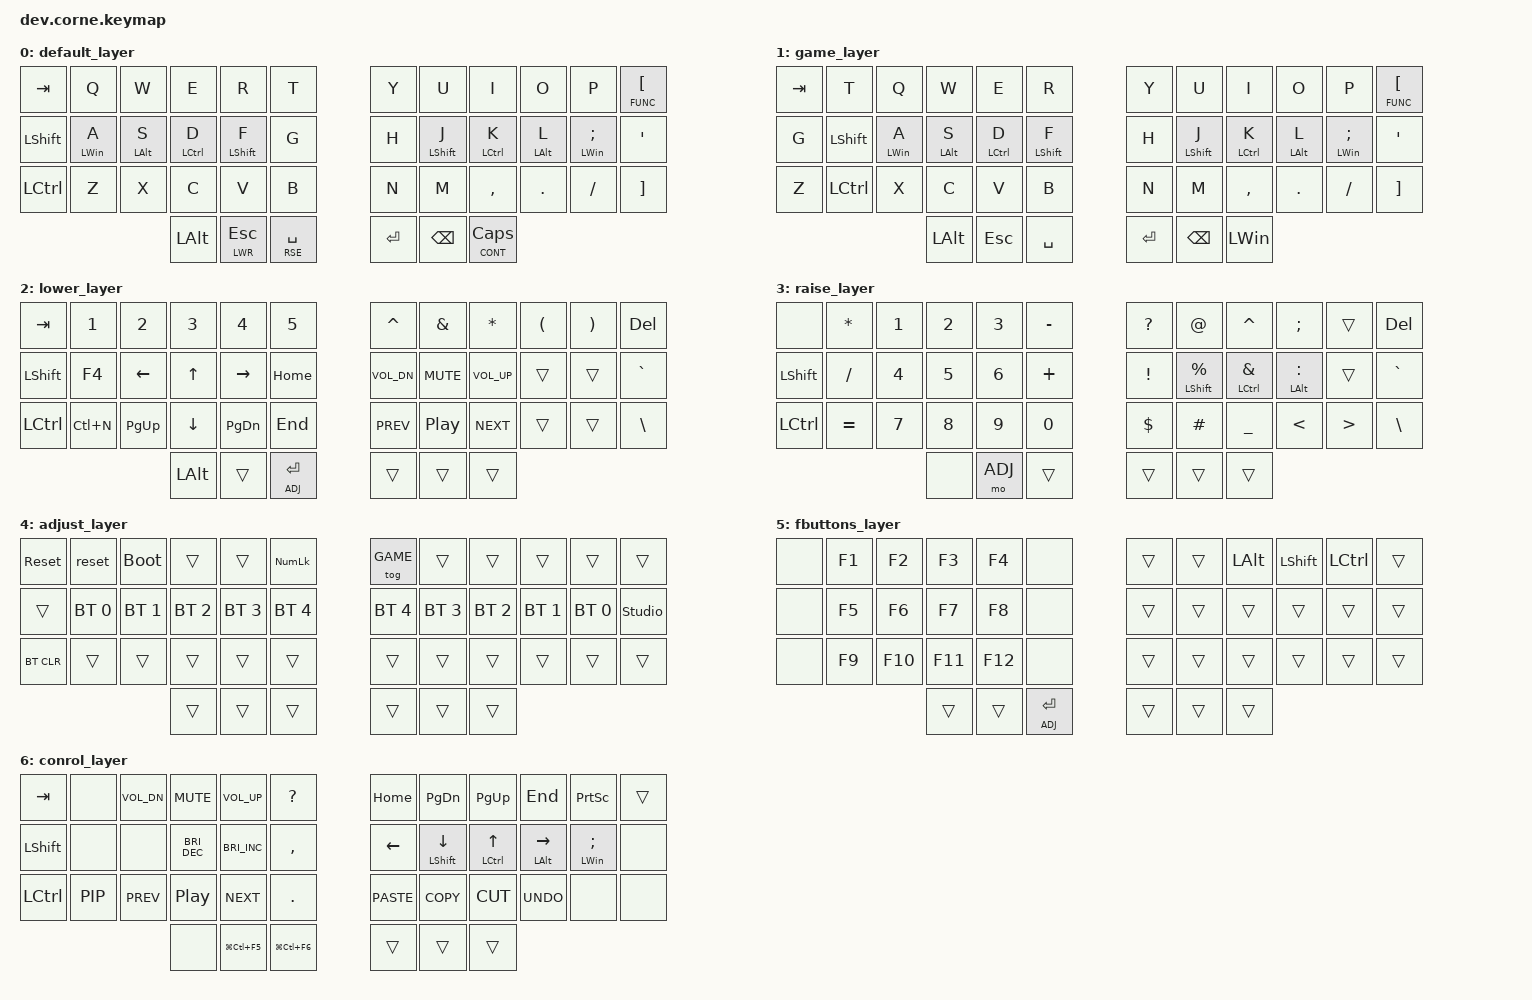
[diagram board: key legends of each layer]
 /*
 * Copyright (c) 2020 The ZMK Contributors
 *
 * SPDX-License-Identifier: MIT
 */

#include <behaviors.dtsi>
#include <dt-bindings/zmk/keys.h>
#include <dt-bindings/zmk/bt.h>
#include <dt-bindings/zmk/rgb.h>
#include <dt-bindings/zmk/behaviors.h>

#define DEF 0
#define GAME 1
#define LWR 2
#define RSE 3
#define ADJ 4
#define FUNC 5
#define CONT 6

&mt { quick_tap_ms = <200>; };
&lt { quick_tap_ms = <200>; };


/ {
    behaviors {
        hml: home_row_mod_left {
            compatible = "zmk,behavior-hold-tap";
            #binding-cells = <2>;
            flavor = "balanced";
            require-prior-idle-ms = <150>;
            tapping-term-ms = <280>;
            quick-tap-ms = <175>;
            bindings = <&kp>, <&kp>;
            hold-trigger-key-positions = <6 7 8 9 10 11 18 19 20 21 22 23 30 31 32 33 34 35>;
            hold-trigger-on-release;
        };

        hmr: home_row_mod_right {
            compatible = "zmk,behavior-hold-tap";
            #binding-cells = <2>;
            flavor = "balanced";
            require-prior-idle-ms = <150>;
            tapping-term-ms = <280>;
            quick-tap-ms = <175>;
            bindings = <&kp>, <&kp>;
            hold-trigger-key-positions = <0 1 2 3 4 5 12 13 14 15 16 17 24 25 26 27 28 29>;
            hold-trigger-on-release;
        };
    };

    combos {
        compatible = "zmk,combos";
        ParaLeft {
            bindings = <&kp LEFT_PARENTHESIS>;
            key-positions = <3 4>;
            timeout-ms = <20>;
        };

        ParaRight {
            bindings = <&kp RIGHT_PARENTHESIS>;
            key-positions = <7 8>;
            timeout-ms = <20>;
        };

        BrakLeft {
            bindings = <&kp LEFT_BRACKET>;
            key-positions = <15 16>;
            timeout-ms = <20>;
        };

        BrakRight {
            bindings = <&kp RIGHT_BRACKET>;
            key-positions = <19 20>;
            timeout-ms = <20>;
        };

        BraceLeft {
            bindings = <&kp LEFT_BRACE>;
            key-positions = <27 28>;
            timeout-ms = <20>;
        };

        BraceRight {
            bindings = <&kp RIGHT_BRACE>;
            key-positions = <31 32>;
            timeout-ms = <20>;
        };

        DoubleQuote {
            bindings = <&kp DOUBLE_QUOTES>;
            key-positions = <14 15>;
            timeout-ms = <20>;
        };

        SingleQuote {
            bindings = <&kp APOSTROPHE>;
            key-positions = <20 21>;
            timeout-ms = <20>;
        };

        TildaSign {
            bindings = <&kp TILDE>;
            key-positions = <0 12>;
            timeout-ms = <20>;
        };

        GraveSign {
            bindings = <&kp GRAVE>;
            key-positions = <12 24>;
            timeout-ms = <20>;
        };

        MinusSign {
            bindings = <&kp MINUS>;
            key-positions = <2 3>;
            timeout-ms = <20>;
        };

        PlusSign {
            bindings = <&kp PLUS>;
            key-positions = <1 2>;
            timeout-ms = <20>;
        };

        UnderscoreSign {
            bindings = <&kp UNDERSCORE>;
            key-positions = <8 9>;
            timeout-ms = <20>;
        };

        PipeSign {
            bindings = <&kp PIPE>;
            key-positions = <9 10>;
            timeout-ms = <20>;
        };
    };
};

/ {
        keymap {
                compatible = "zmk,keymap";

                default_layer {
// .-------------------------------------------------------.       .-----------------------------------------------------------.
// |  ESC  |    Q    |    W   |   E    |    R    |    T    |       |   Y   |    U    |    I    |    O    |     P    |  Fnc/[   |
// |-------+---------+--------+--------+---------+---------|       |-------+---------+---------+---------+----------+----------|
// |  SHFT |  GUI/A  |  ALT/S |CTRlL/D | SHFT/F  |    G    |       |   H   | SHFT/J  | CTRL/K  |  ALT/L  |  GUI/;   |     '    |
// |-------+---------+--------+--------+---------+---------|       |-------+---------+---------+---------+----------+----------|
// |  CTRL |    Z    |    X   |   C    |    V    |    B    |       |   N   |    M    |    ,    |    .    |     /    |     ]    |
// '--------------------------+--------+---------+---------+       |-------+---------+---------+-------------------------------'
//                            |  ALT   | TAB/LWR | RSE/SPC |       |  RET  |   BKSP  |   CONT  |
//                            '--------+---------+---------'       '-------+---------+---------'
                        bindings = <
     &kp TAB    &kp Q        &kp W          &kp E          &kp R         &kp T         &kp Y      &kp U           &kp I         &kp O        &kp P          &lt FUNC LEFT_BRACKET
     &kp LSHFT  &hml LWIN A  &hml LALT S    &hml LCTRL D   &hml LSHFT F  &kp G         &kp H      &hmr LSHFT J    &hmr LCTRL K  &hmr LALT L  &hmr LWIN SEMI &kp SQT
     &kp LCTRL  &kp Z        &kp X          &kp C          &kp V         &kp B         &kp N      &kp M           &kp COMMA     &kp DOT      &kp FSLH       &kp RBKT
                             &kp LALT       &lt LWR ESC    &lt RSE SPACE               &kp ENTER  &kp BSPC &lt CONT CAPS
                        >;
                };
  
  
                game_layer {
// .-------------------------------------------------------.       .-----------------------------------------------------------.
// |  TAB  |    T    |    Q   |   W    |    E    |    R    |       |   Y   |    U    |    I    |    O    |     P    |     F/[  |
// |-------+---------+--------+--------+---------+---------|       |-------+---------+---------+---------+----------+----------|
// |   G   |   SHFT  |    A   |   S    |    D    |    F    |       |   H   |    J    |    K    |    L    |     ;    |     '    |
// |-------+---------+--------+--------+---------+---------|       |-------+---------+---------+---------+----------+----------|
// |   Z   |   CTRL  |    H   |   C    |    V    |    B    |       |   N   |    M    |    ,    |    .    |     /    |     ]    |
// '--------------------------+--------+---------+---------+       |-------+---------+---------+-------------------------------'
//                            |  ALT   |   ESC   |   SPC   |       |  RET  |   BKSP  |   GUI   |
//                            '--------+---------+---------'       '-------+---------+---------'
                        bindings = <
     &kp TAB  &kp T      &kp Q        &kp W          &kp E   &kp R                        &kp Y    &kp U           &kp I         &kp O        &kp P          &lt FUNC LEFT_BRACKET
     &kp G    &kp LSHFT  &hml LWIN A  &hml LALT S    &hml LCTRL D   &hml LSHFT F          &kp H    &hmr LSHFT J    &hmr LCTRL K  &hmr LALT L  &hmr LWIN SEMI &kp SQT
     &kp Z    &kp LCTRL  &kp X        &kp C          &kp V   &kp B                        &kp N    &kp M           &kp COMMA     &kp DOT      &kp FSLH       &kp RBKT
                         &kp LALT     &kp ESC  &kp SPACE                                  &kp ENTER  &kp BSPC  &kp LWIN
                        >;
                };
                
  
                lower_layer {
// .----------------------------------------------------------.       .-----------------------------------------------------.
// |    TAB    |   1    |   2    |   3    |    4    |    5     |       |    ^   |    &   |    *    |    (   |    )   |  DEL  |
// |-----------+--------+--------+--------+---------+----------|       |--------+--------+---------+--------+--------+-------|
// |    SHFT   |   F4   |  LEFT  |   UP   |  RIGHT  |   HOME   |       | vol up |  mute  |  vol dn |        |        |   ~   |
// |-----------+--------+--------+--------+---------+----------|       |--------+--------+---------+--------+--------+-------|
// |    CTRL   | CTRL+N |   PU   |  DOWN  |    PD   |   END    |       |  prev  |  play  |   next  |        |        |   \   |
// '-----------------------------+--------+---------+----------+       |--------+--------+---------+-------------------------'
//                               |  ALT   |   **    |ADJ_ENTER |       |        |        |         |
//                               '--------+---------+----------'       '--------+--------+---------'

                        bindings = <
   &kp TAB     &kp N1    &kp N2     &kp N3    &kp N4     &kp N5          &kp CARET     &kp AMPS   &kp STAR     &kp LPAR   &kp RPAR  &kp DEL
   &kp LSHFT   &kp F4    &kp LEFT   &kp UP    &kp RIGHT  &kp HOME        &kp C_VOL_DN  &kp C_MUTE &kp C_VOL_UP &trans     &trans    &kp GRAVE
   &kp LCTRL   &kp LC(N) &kp PG_UP  &kp DOWN  &kp PG_DN  &kp END         &kp C_PREV    &kp C_PP   &kp C_NEXT   &trans     &trans    &kp BSLH
                          &kp LALT   &trans   &lt ADJ ENTER              &trans   &trans   &trans
                        >;
                };
  
  
                  raise_layer {
// .------------------------------------------------------.       .-----------------------------------------------------.
// |         |    *   |    1   |    2   |    3   |    -   |       |    ?   |   @    |   ^   |   :    |        |   DEL  |
// |---------+--------+--------+--------+--------+--------|       |--------+--------+--------+--------+--------+--------|
// |   SHFT  |    /   |    4   |    5   |    6   |    +   |       |    !   |   %    |   &   |   ;    |        |    ~   |
// |---------+--------+--------+--------+--------+--------|       |--------+--------+--------+--------+--------+--------|
// |   CTRL  |    =   |    7   |    8   |    9   |    0   |       |    $   |   #    |   _   |   <    |    >   |    \   |
// '---------------------------+--------+--------+--------+       |-------+---------+--------+--------------------------'
//                             |        |   ADJ  |  **    |       |        |        |        |
//                             '--------+--------+--------'       '--------+--------+--------'
                        bindings = <
   &none      &kp ASTERISK &kp N1 &kp N2 &kp N3   &kp MINUS        &kp QMARK  &kp AT_SIGN          &kp CARET        &kp SEMI         &trans       &kp DEL
   &kp LSHFT  &kp SLASH    &kp N4 &kp N5 &kp N6   &kp PLUS         &kp EXCL   &hmr LSHFT PERCENT   &hmr LCTRL AMPS  &hmr LALT COLON  &trans       &kp GRAVE
   &kp LCTRL  &kp EQUAL    &kp N7 &kp N8 &kp N9   &kp N0           &kp DOLLAR &kp HASH             &kp UNDER        &kp LT           &kp GT       &kp BSLH
                              &none        &mo ADJ  &trans               &trans &trans  &trans
                        >;
                };

                adjust_layer {
// .--------------------------------------------------------.       .---------------------------------------------------------.
// |sys_reset|  reset |  boot  |        |         |  KP_NUM |       |  GAME  |        |        |        |        |            |
// |---------+--------+--------+--------+---------+---------|       |--------+--------+--------+--------+--------+------------|
// |         |  BT1   |  BT2   |  BT3   |  BT4    |  BT5    |       |  BT5   |  BT4   |  BT3   |  BT2   |  BT1   | zmk-studio |
// |---------+--------+--------+--------+---------+---------|       |--------+--------+--------+--------+--------+------------|
// |  BTCLR  |        |        |        |         |         |       |        |        |        |        |        |            |
// '---------------------------+--------+---------+---------+       |--------+--------+--------+--------+--------+------------|
//                             |        |   **    |   ***   |       |        |        |        |
//                             '--------+---------+---------'       '--------+--------+--------'

                        bindings = <
   &sys_reset  &reset        &bootloader   &trans        &trans          &kp KP_NUM        &tog GAME     &trans        &trans        &trans        &trans        &trans
   &trans      &bt BT_SEL 0  &bt BT_SEL 1  &bt BT_SEL 2  &bt BT_SEL 3    &bt BT_SEL 4      &bt BT_SEL 4  &bt BT_SEL 3  &bt BT_SEL 2  &bt BT_SEL 1  &bt BT_SEL 0  &studio_unlock
   &bt BT_CLR  &trans        &trans        &trans        &trans          &trans            &trans        &trans        &trans        &trans        &trans        &trans
                                           &trans        &trans          &trans            &trans        &trans        &trans
                        >;
                };

               fbuttons_layer {
                       bindings = <
  // ╭───────────┬───────────┬─────────┬───────────┬───────────┬───────────╮   ╭───────────┬───────────┬───────────┬───────────┬───────────┬───────────╮
         &none      &kp F1      &kp F2    &kp F3     &kp F4       &none           &trans       &trans    &kp LALT    &kp LSHFT   &kp LCTRL    &trans
  // ├───────────┼───────────┼─────────┼───────────┼───────────┼───────────┤   ├───────────┼───────────┼───────────┼───────────┼───────────┼───────────┤
         &none      &kp F5      &kp F6    &kp F7     &kp F8       &none           &trans       &trans    &trans      &trans      &trans       &trans
  // ├───────────┼───────────┼─────────┼───────────┼───────────┼───────────┤   ├───────────┼───────────┼───────────┼───────────┼───────────┼───────────┤
         &none      &kp F9      &kp F10   &kp F11    &kp F12      &none           &trans       &trans    &trans      &trans      &trans       &trans
  // ╰───────────┴───────────┼─────────┼───────────┼───────────┼───────────┤   ├───────────┼───────────┼───────────┼───────────┼───────────┴───────────╯
                                          &trans      &trans   &lt ADJ ENTER          &trans       &trans     &trans
  //                                   ╰───────────┴───────────┴───────────╯   ╰───────────┴───────────┴───────────╯
                       >; 
               };

                conrol_layer {
// .----------------------------------------------------------.       .-----------------------------------------------------.
// |    TAB    |        |   <)-  | <)-/-  |   <)+   |   ?      |       |  home  |  pgdown|  pgup   |  end   |  PRCRN |       |
// |-----------+--------+--------+--------+---------+----------|       |--------+--------+---------+--------+--------+-------|
// |    SHFT   |        |        |   o-   |   o+    |   ,      |       | left   |  down  |  up     |  right |        |       |
// |-----------+--------+--------+--------+---------+----------|       |--------+--------+---------+--------+--------+-------|
// |    CTRL   |PicinPic|  prev  |  play  |  next   |   .      |       |  paste |  copy  |   cut   | undo   |        |       |
// '-----------------------------+--------+---------+----------+       |--------+--------+---------+-------------------------'
//                               |        |    en   |    ru    |       |        |        |   **    |
//                               '--------+---------+----------'       '--------+--------+---------'

                       bindings = <
  &kp TAB     &none     &kp C_VOL_DN  &kp C_MUTE      &kp C_VOL_UP   &kp QMARK     &kp HOME     &kp PG_DN   &kp PG_UP    &kp END    &kp PSCRN   &trans
  &kp LSHFT   &none     &none         &kp C_BRI_DEC   &kp C_BRI_INC  &kp COMMA     &kp LEFT     &hmr LSHFT DOWN    &hmr LCTRL UP  &hmr LALT RIGHT  &hmr LWIN SEMI       &none
  &kp LCTRL   &kp C_PIP &kp C_PREV    &kp C_PP        &kp C_NEXT     &kp DOT       &kp K_PASTE  &kp K_COPY  &kp K_CUT    &kp K_UNDO &none       &none
                        &none         &kp LG(LC(F5))  &kp LG(LC(F6))                     &trans   &trans   &trans
                       >;
               };
         };
};
